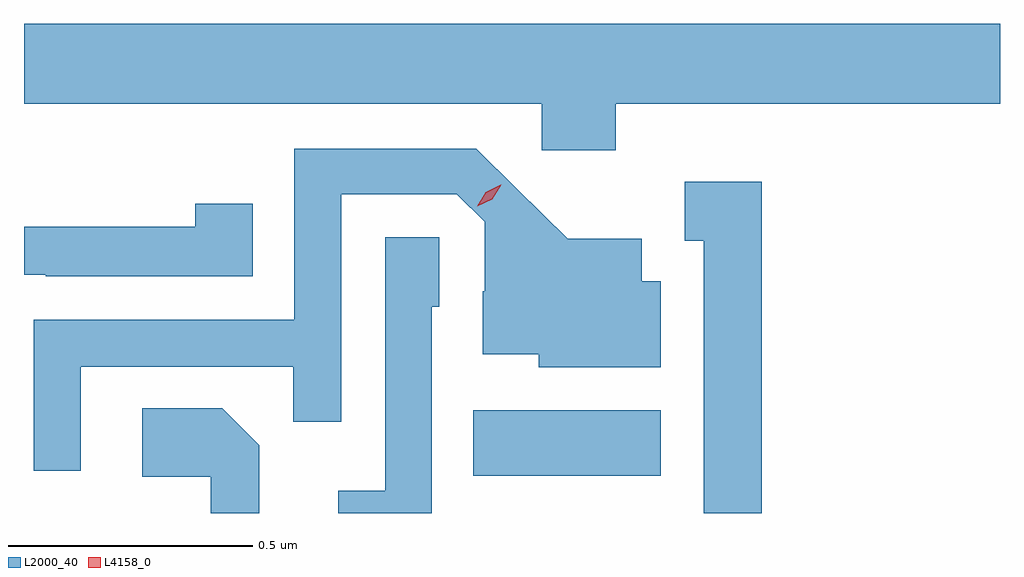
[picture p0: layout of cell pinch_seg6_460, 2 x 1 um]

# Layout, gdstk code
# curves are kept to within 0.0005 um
import gdstk
lib = gdstk.Library(unit=1e-6, precision=1e-09)
def R(c, l, rs):  # rectangles x0, y0, x1, y1
    for r in rs: c.add(gdstk.rectangle(r[:2], r[2:], *l))
def P(c, l, *ps):  # polygons
    for p in ps: c.add(gdstk.Polygon(p, *l))
L2000_40 = (2000, 40)
L4158_0 = (4158, 0)

pinch_seg6_460 = lib.new_cell('pinch_seg6_460')
R(pinch_seg6_460, L2000_40, [(732.994,918.602,733.378,918.736)])
P(pinch_seg6_460, L2000_40, [(733.286,919.364),(734.073,919.364),(734.073,919.528),(732.073,919.528),(732.073,919.364),(733.134,919.364),(733.134,919.269),(733.286,919.269)],
  [(732.189,918.825),(732.625,918.825),(732.625,918.712),(732.723,918.712),(732.723,919.179),(732.96,919.179),(733.017,919.122),(733.017,918.98),(733.013,918.98),(733.013,918.851),(733.128,918.851),(733.128,918.824),(733.378,918.824),(733.378,919),(733.339,919),(733.339,919.087),(733.187,919.087),(733,919.272),(732.627,919.272),(732.627,918.921),(732.093,918.921),(732.093,918.612),(732.189,918.612)],
  [(733.585,919.204),(733.427,919.204),(733.427,919.083),(733.466,919.083),(733.466,918.525),(733.585,918.525)],
  [(732.542,919.159),(732.424,919.159),(732.424,919.112),(732.073,919.112),(732.073,919.014),(732.118,919.014),(732.118,919.011),(732.542,919.011)],
  [(732.909,918.948),(732.924,918.948),(732.924,919.091),(732.813,919.091),(732.813,918.571),(732.717,918.571),(732.717,918.525),(732.909,918.525)],
  [(732.555,918.664),(732.479,918.74),(732.315,918.74),(732.315,918.6),(732.456,918.6),(732.456,918.525),(732.555,918.525)])
P(pinch_seg6_460, L4158_0, [(733.002,919.154),(733.002,919.154),(733.019,919.183),(733.05,919.198),(733.051,919.198),(733.051,919.198),(733.033,919.168),(733.002,919.154)])

lib.write_gds('pinch_seg6_460.gds')
